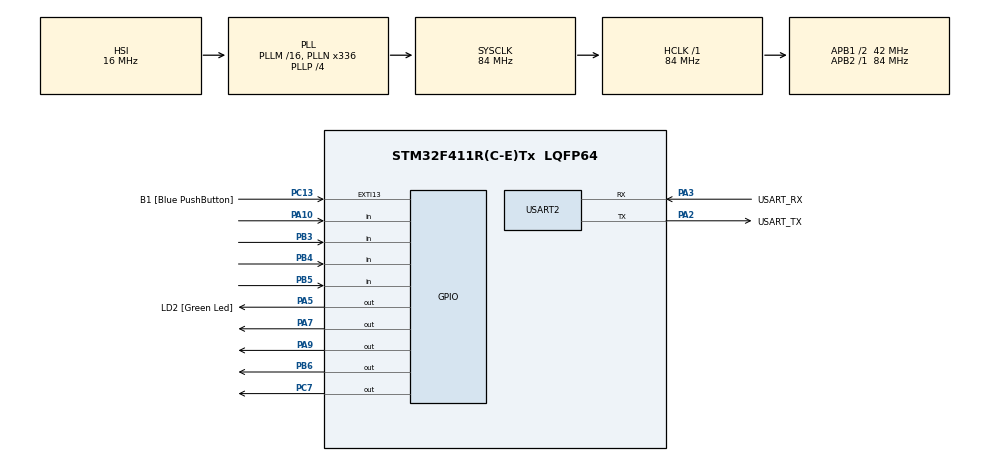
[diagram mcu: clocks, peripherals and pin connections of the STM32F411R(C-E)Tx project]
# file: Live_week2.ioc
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Mcu.Family=STM32F4
Mcu.Name=STM32F411R(C-E)Tx
Mcu.Package=LQFP64
NVIC.PriorityGroup=NVIC_PRIORITYGROUP_0
PA10.GPIO_PuPd=GPIO_PULLUP
PA10.Signal=GPIO_Input
PA13.GPIO_Label=TMS
PA13.Mode=Serial_Wire
PA13.Signal=SYS_JTMS-SWDIO
PA14.GPIO_Label=TCK
PA14.Mode=Serial_Wire
PA14.Signal=SYS_JTCK-SWCLK
PA2.GPIO_Label=USART_TX
PA2.Mode=Asynchronous
PA2.Signal=USART2_TX
PA3.GPIO_Label=USART_RX
PA3.Mode=Asynchronous
PA3.Signal=USART2_RX
PA5.GPIO_Label=LD2 [Green Led]
PA5.Signal=GPIO_Output
PA7.GPIO_ModeDefaultOutputPP=GPIO_MODE_OUTPUT_OD
PA7.PinState=GPIO_PIN_SET
PA7.Signal=GPIO_Output
PA9.GPIO_ModeDefaultOutputPP=GPIO_MODE_OUTPUT_OD
PA9.PinState=GPIO_PIN_SET
PA9.Signal=GPIO_Output
PB3.GPIO_PuPd=GPIO_PULLUP
PB3.Signal=GPIO_Input
PB4.GPIO_PuPd=GPIO_PULLUP
PB4.Signal=GPIO_Input
PB5.GPIO_PuPd=GPIO_PULLUP
PB5.Signal=GPIO_Input
PB6.GPIO_ModeDefaultOutputPP=GPIO_MODE_OUTPUT_OD
PB6.PinState=GPIO_PIN_SET
PB6.Signal=GPIO_Output
PC13-ANTI_TAMP.GPIO_Label=B1 [Blue PushButton]
PC13-ANTI_TAMP.GPIO_ModeDefaultEXTI=GPIO_MODE_IT_FALLING
PC13-ANTI_TAMP.Signal=GPXTI13
PC14-OSC32_IN.Mode=LSE-External-Oscillator
PC14-OSC32_IN.Signal=RCC_OSC32_IN
PC15-OSC32_OUT.Mode=LSE-External-Oscillator
PC15-OSC32_OUT.Signal=RCC_OSC32_OUT
PC7.GPIO_ModeDefaultOutputPP=GPIO_MODE_OUTPUT_OD
PC7.PinState=GPIO_PIN_SET
PC7.Signal=GPIO_Output
PH0\ -\ OSC_IN.Mode=HSE-External-Clock-Source
PH0\ -\ OSC_IN.Signal=RCC_OSC_IN
PH1\ -\ OSC_OUT.Mode=HSE-External-Clock-Source
PH1\ -\ OSC_OUT.Signal=RCC_OSC_OUT
ProjectManager.HeapSize=0x200
ProjectManager.StackSize=0x400
ProjectManager.TargetToolchain=STM32CubeIDE
RCC.48MHZClocksFreq_Value=84000000
RCC.AHBFreq_Value=84000000
RCC.APB1CLKDivider=RCC_HCLK_DIV2
RCC.APB1Freq_Value=42000000
RCC.APB1TimFreq_Value=84000000
RCC.APB2Freq_Value=84000000
RCC.APB2TimFreq_Value=84000000
RCC.CortexFreq_Value=84000000
RCC.FLatency-AdvancedSettings=FLASH_LATENCY_2
RCC.HCLKFreq_Value=84000000
RCC.HSE_VALUE=8000000
RCC.HSI_VALUE=16000000
RCC.PLLN=336
RCC.PLLP=RCC_PLLP_DIV4
RCC.SYSCLKFreq_VALUE=84000000
RCC.SYSCLKSource=RCC_SYSCLKSOURCE_PLLCLK
RCC.VCOOutputFreq_Value=336000000
USART2.VirtualMode=VM_ASYNC
board=NUCLEO-F411RE

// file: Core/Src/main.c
/* USER CODE BEGIN Header */
/**
 ******************************************************************************
 * @file           : main.c
 * @brief          : Main program body
 ******************************************************************************
 * @attention
 *
 * <h2><center>&copy; Copyright (c) 2021 STMicroelectronics.
 * All rights reserved.</center></h2>
 *
 * This software component is licensed by ST under BSD 3-Clause license,
 * the "License"; You may not use this file except in compliance with the
 * License. You may obtain a copy of the License at:
 *                        opensource.org/licenses/BSD-3-Clause
 *
 ******************************************************************************
 */
/* USER CODE END Header */
#include "main.h"

UART_HandleTypeDef huart2;

/* USER CODE BEGIN PV */
//save status of Button Matrix
uint16_t ButtonMatrixState = 0;

//Button TimeStamp
uint32_t ButtonMatrixTimestamp = 0;
char Test = ' ';
uint16_t Password_State = 0;
int LED = 0;
uint32_t Number = 0;
/* USER CODE END PV */

void SystemClock_Config(void);
static void MX_GPIO_Init(void);
static void MX_USART2_UART_Init(void);
/* USER CODE BEGIN PFP */
//PFP=Private Function Prototype
void ButtonMatrixUpdate();
/* USER CODE END PFP */

int main(void) {

	/* MCU Configuration--------------------------------------------------------*/

	/* Reset of all peripherals, Initializes the Flash interface and the Systick. */

	HAL_Init();

	/* Configure the system clock */
	SystemClock_Config();

	/* Initialize all configured peripherals */
	MX_GPIO_Init();
	MX_USART2_UART_Init();
	/* USER CODE BEGIN 2 */
	uint32_t ButtonTimeStamp = 0;
	uint32_t ButtonMatrixCheck[2];
	/* USER CODE END 2 */

	/* Infinite loop */
	while (1) {

		/* USER CODE BEGIN 3 */
		ButtonMatrixUpdate();

			ButtonMatrixCheck[0] = ButtonMatrixState;
			if (ButtonMatrixCheck[1]==0 && ButtonMatrixCheck[0]!=0) {
				Number = ButtonMatrixCheck[0];
				switch (Password_State) {
				case 0:
					if (Number == 0b1000000) //[7]
							{
						Password_State = 1;
					}else
					{
						Password_State = 12;
					}
					break;
				case 1:
					if (Number == 0b1000000000) //[10]
							{
						Password_State = 2;
					} else{
						Password_State = 12;
					}
					break;
				case 2:
					if (Number == 0b10000000000) //[11]
							{
						Password_State = 3;
					} else {
						Password_State = 12;
					}
					break;
				case 3:
					if (Number == 0b10000) //[5]
							{
						Password_State = 4;
					}else {
						Password_State = 12;
					}
					break;
				case 4:
					if (Number == 0b1000000000000) //[13]
							{
						Password_State = 5;
					}else {
						Password_State = 12;
					}
					break;
				case 5:
					if (Number == 0b100000) //[6]
							{
						Password_State = 6;
					}else {
						Password_State = 12;
					}
					break;
				case 6:
					if (Number == 0b1000000000000) //[13]
							{
						Password_State = 7;
					}else {
						Password_State = 12;
					}
					break;
				case 7:
					if (Number == 0b1000000000000) //[13]
							{
						Password_State = 8;
					}else {
						Password_State = 12;
					}
					break;
				case 8:
					if (Number == 0b1000000000000) //[13]
							{
						Password_State = 9;
					}else {
						Password_State = 12;
					}
					break;
				case 9:
					if (Number == 0b1000000000) //[10]
							{
						Password_State = 10;
					}else {
						Password_State = 12;
					}
					break;
				case 10:
					if (Number == 0b100000000) //[9]
							{
						LED = 1;
					}else {
						Password_State = 12;
					}
					break;
				case 12:
					break;
				}
				if (Number == 0b1000000000000000) {
					if (LED == 1) {
						HAL_GPIO_WritePin(GPIOA, GPIO_PIN_5, GPIO_PIN_SET);
						LED = 0;
					}
				}
				if (Number == 0b1000) {
					Password_State = 0;
					LED=0;
					HAL_GPIO_WritePin(GPIOA, GPIO_PIN_5, GPIO_PIN_RESET);
				}
			}
			ButtonMatrixCheck[1] = ButtonMatrixCheck[0];

	}
	/* USER CODE END 3 */
}

void SystemClock_Config(void) {
	RCC_OscInitTypeDef RCC_OscInitStruct = { 0 };
	RCC_ClkInitTypeDef RCC_ClkInitStruct = { 0 };

	/** Configure the main internal regulator output voltage
	 */
	__HAL_RCC_PWR_CLK_ENABLE();
	__HAL_PWR_VOLTAGESCALING_CONFIG(PWR_REGULATOR_VOLTAGE_SCALE1);
	/** Initializes the RCC Oscillators according to the specified parameters
	 * in the RCC_OscInitTypeDef structure.
	 */
	RCC_OscInitStruct.OscillatorType = RCC_OSCILLATORTYPE_HSI;
	RCC_OscInitStruct.HSIState = RCC_HSI_ON;
	RCC_OscInitStruct.HSICalibrationValue = RCC_HSICALIBRATION_DEFAULT;
	RCC_OscInitStruct.PLL.PLLState = RCC_PLL_ON;
	RCC_OscInitStruct.PLL.PLLSource = RCC_PLLSOURCE_HSI;
	RCC_OscInitStruct.PLL.PLLM = 16;
	RCC_OscInitStruct.PLL.PLLN = 336;
	RCC_OscInitStruct.PLL.PLLP = RCC_PLLP_DIV4;
	RCC_OscInitStruct.PLL.PLLQ = 4;
	if (HAL_RCC_OscConfig(&RCC_OscInitStruct) != HAL_OK) {
		Error_Handler();
	}
	/** Initializes the CPU, AHB and APB buses clocks
	 */
	RCC_ClkInitStruct.ClockType = RCC_CLOCKTYPE_HCLK | RCC_CLOCKTYPE_SYSCLK
			| RCC_CLOCKTYPE_PCLK1 | RCC_CLOCKTYPE_PCLK2;
	RCC_ClkInitStruct.SYSCLKSource = RCC_SYSCLKSOURCE_PLLCLK;
	RCC_ClkInitStruct.AHBCLKDivider = RCC_SYSCLK_DIV1;
	RCC_ClkInitStruct.APB1CLKDivider = RCC_HCLK_DIV2;
	RCC_ClkInitStruct.APB2CLKDivider = RCC_HCLK_DIV1;

	if (HAL_RCC_ClockConfig(&RCC_ClkInitStruct, FLASH_LATENCY_2) != HAL_OK) {
		Error_Handler();
	}
}

static void MX_USART2_UART_Init(void) {

	huart2.Instance = USART2;
	huart2.Init.BaudRate = 115200;
	huart2.Init.WordLength = UART_WORDLENGTH_8B;
	huart2.Init.StopBits = UART_STOPBITS_1;
	huart2.Init.Parity = UART_PARITY_NONE;
	huart2.Init.Mode = UART_MODE_TX_RX;
	huart2.Init.HwFlowCtl = UART_HWCONTROL_NONE;
	huart2.Init.OverSampling = UART_OVERSAMPLING_16;
	if (HAL_UART_Init(&huart2) != HAL_OK) {
		Error_Handler();
	}

}

static void MX_GPIO_Init(void) {
	GPIO_InitTypeDef GPIO_InitStruct = { 0 };

	/* GPIO Ports Clock Enable */
	__HAL_RCC_GPIOC_CLK_ENABLE();
	__HAL_RCC_GPIOH_CLK_ENABLE();
	__HAL_RCC_GPIOA_CLK_ENABLE();
	__HAL_RCC_GPIOB_CLK_ENABLE();

	/*Configure GPIO pin Output Level */
	HAL_GPIO_WritePin(LD2_GPIO_Port, LD2_Pin, GPIO_PIN_RESET);

	/*Configure GPIO pin Output Level */
	HAL_GPIO_WritePin(GPIOA, GPIO_PIN_7 | GPIO_PIN_9, GPIO_PIN_SET);

	/*Configure GPIO pin Output Level */
	HAL_GPIO_WritePin(GPIOC, GPIO_PIN_7, GPIO_PIN_SET);

	/*Configure GPIO pin Output Level */
	HAL_GPIO_WritePin(GPIOB, GPIO_PIN_6, GPIO_PIN_SET);

	/*Configure GPIO pin : B1_Pin */
	GPIO_InitStruct.Pin = B1_Pin;
	GPIO_InitStruct.Mode = GPIO_MODE_IT_FALLING;
	GPIO_InitStruct.Pull = GPIO_NOPULL;
	HAL_GPIO_Init(B1_GPIO_Port, &GPIO_InitStruct);

	/*Configure GPIO pin : LD2_Pin */
	GPIO_InitStruct.Pin = LD2_Pin;
	GPIO_InitStruct.Mode = GPIO_MODE_OUTPUT_PP;
	GPIO_InitStruct.Pull = GPIO_NOPULL;
	GPIO_InitStruct.Speed = GPIO_SPEED_FREQ_LOW;
	HAL_GPIO_Init(LD2_GPIO_Port, &GPIO_InitStruct);

	/*Configure GPIO pins : PA7 PA9 */
	GPIO_InitStruct.Pin = GPIO_PIN_7 | GPIO_PIN_9;
	GPIO_InitStruct.Mode = GPIO_MODE_OUTPUT_OD;
	GPIO_InitStruct.Pull = GPIO_NOPULL;
	GPIO_InitStruct.Speed = GPIO_SPEED_FREQ_LOW;
	HAL_GPIO_Init(GPIOA, &GPIO_InitStruct);

	/*Configure GPIO pin : PC7 */
	GPIO_InitStruct.Pin = GPIO_PIN_7;
	GPIO_InitStruct.Mode = GPIO_MODE_OUTPUT_OD;
	GPIO_InitStruct.Pull = GPIO_NOPULL;
	GPIO_InitStruct.Speed = GPIO_SPEED_FREQ_LOW;
	HAL_GPIO_Init(GPIOC, &GPIO_InitStruct);

	/*Configure GPIO pin : PA10 */
	GPIO_InitStruct.Pin = GPIO_PIN_10;
	GPIO_InitStruct.Mode = GPIO_MODE_INPUT;
	GPIO_InitStruct.Pull = GPIO_PULLUP;
	HAL_GPIO_Init(GPIOA, &GPIO_InitStruct);

	/*Configure GPIO pins : PB3 PB4 PB5 */
	GPIO_InitStruct.Pin = GPIO_PIN_3 | GPIO_PIN_4 | GPIO_PIN_5;
	GPIO_InitStruct.Mode = GPIO_MODE_INPUT;
	GPIO_InitStruct.Pull = GPIO_PULLUP;
	HAL_GPIO_Init(GPIOB, &GPIO_InitStruct);

	/*Configure GPIO pin : PB6 */
	GPIO_InitStruct.Pin = GPIO_PIN_6;
	GPIO_InitStruct.Mode = GPIO_MODE_OUTPUT_OD;
	GPIO_InitStruct.Pull = GPIO_NOPULL;
	GPIO_InitStruct.Speed = GPIO_SPEED_FREQ_LOW;
	HAL_GPIO_Init(GPIOB, &GPIO_InitStruct);

}

/* USER CODE BEGIN 4 */
//input 0-3,output 4-7
GPIO_TypeDef *ButtonMatrixPort[8] = { GPIOA, GPIOB, GPIOB, GPIOB, GPIOA, GPIOC,
GPIOB, GPIOA };

uint16_t ButtonMatrixPin[8] = { GPIO_PIN_10, GPIO_PIN_3, GPIO_PIN_5, GPIO_PIN_4,
GPIO_PIN_9, GPIO_PIN_7, GPIO_PIN_6, GPIO_PIN_7 };

uint8_t ButtonMatrixRow = 0;
;
//บอกว่าอยู๋ที่Rไหน
void ButtonMatrixUpdate() {
	if (HAL_GetTick() - ButtonMatrixTimestamp >= 100) {
		ButtonMatrixTimestamp = HAL_GetTick();
		int i;
		for (i = 0; i < 4; i += 1) { //0-3
			GPIO_PinState PinState = HAL_GPIO_ReadPin(ButtonMatrixPort[i],
					ButtonMatrixPin[i]);
			if (PinState == GPIO_PIN_RESET) // Button Press
					{
				ButtonMatrixState |= (uint16_t) 1 << (i + ButtonMatrixRow * 4);
			} else {
				ButtonMatrixState &=
						~((uint16_t) 1 << (i + ButtonMatrixRow * 4));
			}
		}
		uint8_t NowOutputPin = ButtonMatrixRow + 4;
		//SET Rn
		HAL_GPIO_WritePin(ButtonMatrixPort[NowOutputPin],
				ButtonMatrixPin[NowOutputPin], GPIO_PIN_SET);
		// update New Row
		ButtonMatrixRow = (ButtonMatrixRow + 1) % 4;

		uint8_t NextOutputPin = ButtonMatrixRow + 4;
		//Reset Rn+1
		HAL_GPIO_WritePin(ButtonMatrixPort[NextOutputPin],
				ButtonMatrixPin[NextOutputPin], GPIO_PIN_RESET);

	}
}
/* USER CODE END 4 */

void Error_Handler(void) {
	__disable_irq();
	while (1) {
	}
}

/************************ (C) COPYRIGHT STMicroelectronics *****END OF FILE****/
